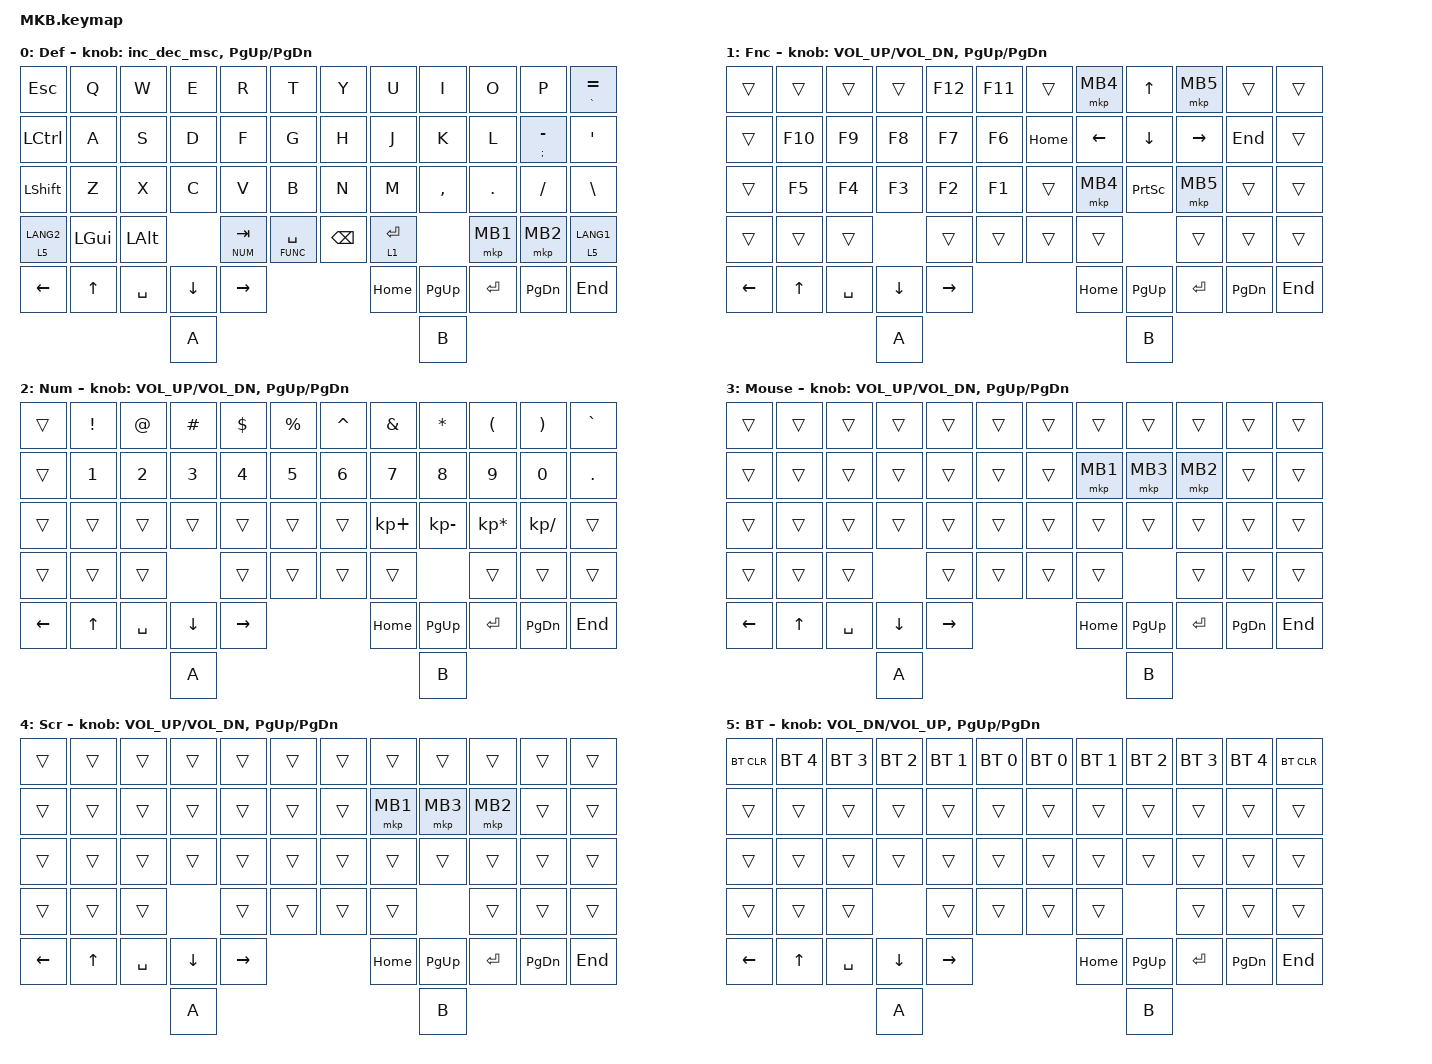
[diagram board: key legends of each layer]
// #include <layout_shift.dtsi>

#include <layout_shift_kp_override.dtsi>
#include <behaviors.dtsi>
#include <dt-bindings/zmk/bt.h>
#include <dt-bindings/zmk/keys.h>
#include <dt-bindings/zmk/pointing.h>

#define DEF 0
#define FUNC 1
#define NUM 2
#define MOUSE 3
#define SCROLL 4
#define BT 5
#define ZMK_POINTING_DEFAULT_SCRL_VAL 80

&mt {
    flavor = "balanced";
    tapping-term-ms = <280>;
    quick-tap-ms = <175>;
    require-prior-idle-ms = <150>;
};

/ {
    inc_dec_msc: behavior_sensor_rotate_msc {
        compatible = "zmk,behavior-sensor-rotate";
        #sensor-binding-cells = <0>;
        bindings = <&msc SCRL_DOWN>, <&msc SCRL_UP>;

        tap-ms = <20>;
    };

    combos {
        compatible = "zmk,combos";

        middle {
            bindings = <&mkp MB3>;
            key-positions = <33 32>;
        };

        backward {
            bindings = <&mkp MB4>;
            key-positions = <32 31>;
        };

        forward {
            bindings = <&mkp MB5>;
            key-positions = <33 34>;
        };

        alphabet {
            bindings = <&kp LANG2>;
            key-positions = <16 15>;
        };

        kana {
            bindings = <&kp LANG1>;
            key-positions = <20 19>;
        };
    };

    behaviors {
    };

    keymap {
        compatible = "zmk,keymap";

        default_layer {
            label = "Def";
            bindings = <
&kp ESCAPE   &kp Q     &kp W      &kp E     &kp R        &kp T               &kp Y          &kp U        &kp I      &kp O       &kp P           &mt GRAVE EQUAL
&kp LCTRL    &kp A     &kp S      &kp D     &kp F        &kp G               &kp H          &kp J        &kp K      &kp L       &mt SEMI MINUS  &kp SINGLE_QUOTE
&kp LSHFT    &kp Z     &kp X      &kp C     &kp V        &kp B               &kp N          &kp M        &kp COMMA  &kp PERIOD  &kp SLASH       &kp BACKSLASH
&lt 5 LANG2  &kp LGUI  &kp LALT             &lt NUM TAB  &lt FUNC SPACE      &kp BACKSPACE  &lt 1 ENTER             &mkp MB1    &mkp MB2        &lt 5 LANG1
&kp LEFT     &kp UP    &kp SPACE  &kp DOWN  &kp RIGHT                                       &kp HOME     &kp PG_UP  &kp ENTER   &kp PG_DN       &kp END
                                  &kp A                                                                  &kp B
            >;

            sensor-bindings = <&inc_dec_msc>, <&inc_dec_kp PG_UP PG_DN>;
        };

        function_layer {
            label = "Fnc";
            bindings = <
&trans    &trans   &trans     &trans    &kp F12    &kp F11      &trans    &mkp MB4        &kp UP_ARROW    &mkp MB5         &trans     &trans
&trans    &kp F10  &kp F9     &kp F8    &kp F7     &kp F6       &kp HOME  &kp LEFT_ARROW  &kp DOWN_ARROW  &kp RIGHT_ARROW  &kp END    &trans
&trans    &kp F5   &kp F4     &kp F3    &kp F2     &kp F1       &trans    &mkp MB4        &kp PSCRN       &mkp MB5         &trans     &trans
&trans    &trans   &trans               &trans     &trans       &trans    &trans                          &trans           &trans     &trans
&kp LEFT  &kp UP   &kp SPACE  &kp DOWN  &kp RIGHT                         &kp HOME        &kp PG_UP       &kp ENTER        &kp PG_DN  &kp END
                              &kp A                                                       &kp B
            >;

            sensor-bindings = <&inc_dec_kp C_VOL_UP C_VOL_DN &inc_dec_kp PG_UP PG_DN>;
        };

        num_layer {
            label = "Num";
            bindings = <
&trans    &kp EXCL  &kp AT_SIGN  &kp HASH  &kp DOLLAR  &kp PERCENT      &kp CARET  &kp AMPERSAND  &kp ASTERISK  &kp LEFT_PARENTHESIS  &kp RIGHT_PARENTHESIS  &kp GRAVE
&trans    &kp N1    &kp N2       &kp N3    &kp N4      &kp N5           &kp N6     &kp N7         &kp N8        &kp N9                &kp N0                 &kp DOT
&trans    &trans    &trans       &trans    &trans      &trans           &trans     &kp KP_PLUS    &kp KP_MINUS  &kp KP_ASTERISK       &kp KP_DIVIDE          &trans
&trans    &trans    &trans                 &trans      &trans           &trans     &trans                       &trans                &trans                 &trans
&kp LEFT  &kp UP    &kp SPACE    &kp DOWN  &kp RIGHT                               &kp HOME       &kp PG_UP     &kp ENTER             &kp PG_DN              &kp END
                                 &kp A                                                            &kp B
            >;

            sensor-bindings = <&inc_dec_kp C_VOL_UP C_VOL_DN &inc_dec_kp PG_UP PG_DN>;
        };

        mouse_layer {
            label = "Mouse";
            bindings = <
&trans    &trans  &trans     &trans    &trans     &trans      &trans  &trans    &trans     &trans     &trans     &trans
&trans    &trans  &trans     &trans    &trans     &trans      &trans  &mkp MB1  &mkp MB3   &mkp MB2   &trans     &trans
&trans    &trans  &trans     &trans    &trans     &trans      &trans  &trans    &trans     &trans     &trans     &trans
&trans    &trans  &trans               &trans     &trans      &trans  &trans               &trans     &trans     &trans
&kp LEFT  &kp UP  &kp SPACE  &kp DOWN  &kp RIGHT                      &kp HOME  &kp PG_UP  &kp ENTER  &kp PG_DN  &kp END
                             &kp A                                              &kp B
            >;

            sensor-bindings = <&inc_dec_kp C_VOL_UP C_VOL_DN &inc_dec_kp PG_UP PG_DN>;
        };

        scroll_layer {
            label = "Scr";
            bindings = <
&trans    &trans  &trans     &trans    &trans     &trans      &trans  &trans    &trans     &trans     &trans     &trans
&trans    &trans  &trans     &trans    &trans     &trans      &trans  &mkp MB1  &mkp MB3   &mkp MB2   &trans     &trans
&trans    &trans  &trans     &trans    &trans     &trans      &trans  &trans    &trans     &trans     &trans     &trans
&trans    &trans  &trans               &trans     &trans      &trans  &trans               &trans     &trans     &trans
&kp LEFT  &kp UP  &kp SPACE  &kp DOWN  &kp RIGHT                      &kp HOME  &kp PG_UP  &kp ENTER  &kp PG_DN  &kp END
                             &kp A                                              &kp B
            >;

            sensor-bindings = <&inc_dec_kp C_VOL_UP C_VOL_DN &inc_dec_kp PG_UP PG_DN>;
        };

        bt_layer {
            label = "BT";
            bindings = <
&bt BT_CLR  &bt BT_SEL 4  &bt BT_SEL 3  &bt BT_SEL 2  &bt BT_SEL 1  &bt BT_SEL 0      &bt BT_SEL 0  &bt BT_SEL 1  &bt BT_SEL 2  &bt BT_SEL 3  &bt BT_SEL 4  &bt BT_CLR
&trans      &trans        &trans        &trans        &trans        &trans            &trans        &trans        &trans        &trans        &trans        &trans
&trans      &trans        &trans        &trans        &trans        &trans            &trans        &trans        &trans        &trans        &trans        &trans
&trans      &trans        &trans                      &trans        &trans            &trans        &trans                      &trans        &trans        &trans
&kp LEFT    &kp UP        &kp SPACE     &kp DOWN      &kp RIGHT                                     &kp HOME      &kp PG_UP     &kp ENTER     &kp PG_DN     &kp END
                                        &kp A                                                                     &kp B
            >;

            sensor-bindings =
                <&inc_dec_kp C_VOL_DN C_VOL_UP>,
                <&inc_dec_kp PG_UP PG_DN>;
        };
    };
};
